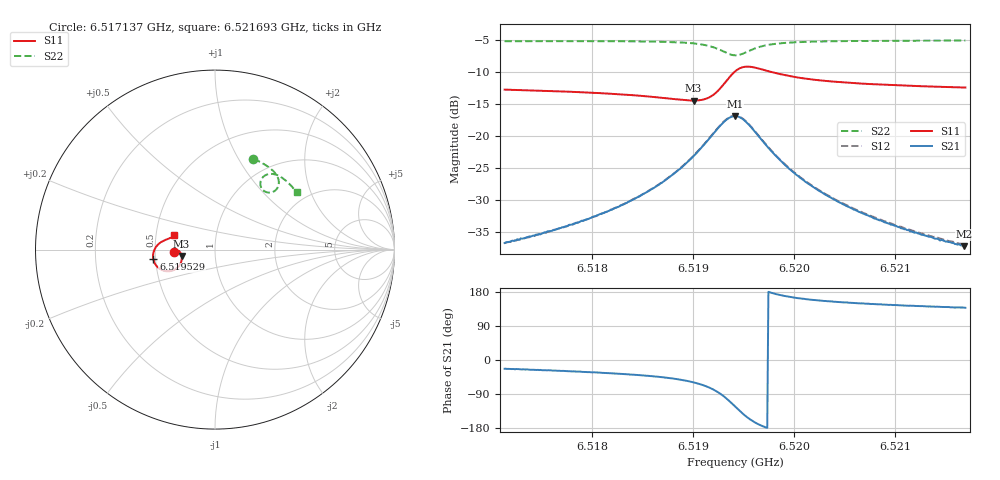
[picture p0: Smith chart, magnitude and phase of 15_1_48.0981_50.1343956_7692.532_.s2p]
#  HZ  S  RI  R  50.00
! Rohde & Schwarz Vector Network Analyzer
! Rohde-Schwarz,ZNB20-2Port,1311601062101988,3.16
! Created: UTC 12/23/2023, 3:36:05 AM
! freq[Hz]  re:S11  im:S11  re:S21  im:S21  re:S12  im:S12  re:S22  im:S22
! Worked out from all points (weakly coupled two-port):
!   401 points, 6.517137 GHz to 6.521693 GHz, reference 50 ohm
!   highest |S21| = -16.88 dB at 6.519415 GHz (marker M1); lowest = -37.1 dB at 6.521681 GHz (marker M2)
!   lowest |S11| = -14.5 dB at 6.519005 GHz (marker M3), VSWR 1.47, Z = 34.2 - j2.49 ohm
!   |S11| at or under -10 dB: start of sweep to 6.51941 GHz; 6.519773 GHz to end of sweep
!   |S22| runs from -7.4 to -5.1 dB; largest |S21 - S12| = 0.0044
!   S11 on the Smith chart (normalised r, x): 6.517137 GHz: 0.63, -0.02; 6.519529 GHz: 0.49, -0.06; 6.521693 GHz: 0.63, +0.10
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6.5171372e9  -0.2299 -0.0143  0.0135 -0.00576  0.0138 -0.00526  0.2138 0.5054
6.51757e9  -0.2248 -0.0081  0.0162 -0.00819  0.0163 -0.00773  0.2457 0.4911
6.5179003e9  -0.2197 -0.00472  0.0187 -0.0114  0.019 -0.0107  0.2702 0.4779
6.5183216e9  -0.2106 -0.00331  0.0236 -0.0178  0.0242 -0.0173  0.3019 0.4572
6.5186633e9  -0.1999 -0.00875  0.0299 -0.0293  0.031 -0.0286  0.3285 0.4335
6.5188683e9  -0.1913 -0.0197  0.0343 -0.0434  0.036 -0.0427  0.3445 0.4127
6.519005e9  -0.186 -0.0351  0.036 -0.0599  0.038 -0.0592  0.3533 0.3922
6.5191075e9  -0.1854 -0.0547  0.0332 -0.0788  0.0359 -0.0782  0.3557 0.3711
6.5191986e9  -0.1932 -0.0798  0.0223 -0.1015  0.0255 -0.1016  0.3499 0.3474
6.5193238e9  -0.2382 -0.1171  -0.0233 -0.1309  -0.0198 -0.1325  0.3145 0.3188
6.519415e9  -0.2982 -0.1128  -0.0769 -0.1208  -0.0742 -0.1241  0.2729 0.3271
6.5194719e9  -0.329 -0.087  -0.1015 -0.095  -0.0996 -0.0985  0.256 0.3494
6.5195288e9  -0.3436 -0.0539  -0.1107 -0.0643  -0.1098 -0.068  0.2529 0.3745
6.5196427e9  -0.3373 -0.000148  -0.0994 -0.019  -0.0997 -0.0222  0.2726 0.4089
6.5197566e9  -0.3175 0.0281  -0.0793 0.00166  -0.08 -0.00073  0.2983 0.4208
6.5199616e9  -0.289 0.0481  -0.0532 0.0128  -0.0542 0.0115  0.3336 0.4194
6.520178e9  -0.2706 0.056  -0.0378 0.0147  -0.0387 0.0137  0.3591 0.409
6.5204969e9  -0.2543 0.0622  -0.0258 0.0137  -0.0265 0.0131  0.3866 0.391
6.520941e9  -0.2407 0.0685  -0.0172 0.0118  -0.0178 0.0114  0.4162 0.3644
6.5211688e9  -0.2356 0.0719  -0.0144 0.0108  -0.015 0.0106  0.4294 0.3507
6.5216813e9  -0.226 0.0788  -0.0103 0.00928  -0.0108 0.00925  0.4555 0.3189
6.5216927e9  -0.2257 0.0789  -0.0103 0.00934  -0.0107 0.0092  0.4561 0.3183
